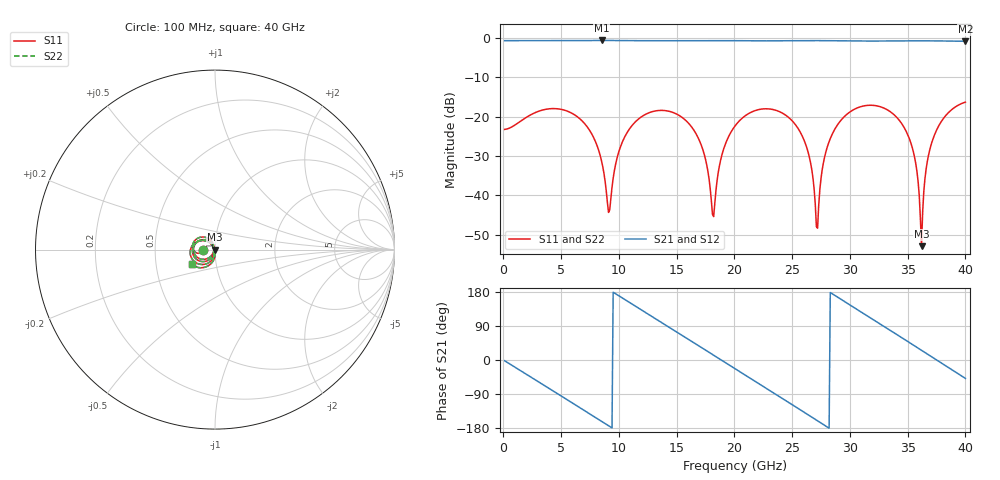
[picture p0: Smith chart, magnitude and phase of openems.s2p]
! thru_s8x2_L3: 2×thru, L3, 8 mm
! stackup: 8-layer 1.6 mm FR-4 without the L2 plane
! ports: 1, 2
! openEMS 0.37.0, staircase, fine mesh (dfine 0.0175 mm), 694512 cells
# Hz S RI R 50
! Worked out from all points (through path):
!   400 points, 100 MHz to 40 GHz, reference 50 ohm
!   highest |S21| = -0.57 dB at 8.5 GHz (marker M1); lowest = -0.8 dB at 40 GHz (marker M2)
!   group delay of S21, straight-line fit = 53.3 ps
!   lowest |S11| = -53.0 dB at 36.2 GHz (marker M3), VSWR 1.00, Z = 49.8 - j0.11 ohm
!   |S11| at or under -10 dB: start of sweep to end of sweep
!   |S22| runs from -53.0 to -16.3 dB; largest |S21 - S12| = 0
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1e8  -0.069 -0.00181  0.9304 -0.031  0.9304 -0.031  -0.069 -0.00181
3.7e9  -0.1244 0.00948  0.3125 -0.8755  0.3125 -0.8755  -0.1244 0.00948
6.8e9  -0.0561 0.0689  -0.5922 -0.7227  -0.5922 -0.7227  -0.0561 0.0689
8.5e9  -0.00848 0.0258  -0.8901 -0.29  -0.8901 -0.29  -0.00848 0.0258
9.1e9  -0.00574 0.00192  -0.9298 -0.1062  -0.9298 -0.1062  -0.00574 0.00192
1.05e10  -0.0329 -0.0446  -0.8752 0.3246  -0.8752 0.3246  -0.0329 -0.0446
1.34e10  -0.1195 -0.0097  -0.2317 0.8991  -0.2317 0.8991  -0.1195 -0.0097
1.68e10  -0.0324 0.0459  0.7204 0.594  0.7204 0.594  -0.0324 0.0459
1.82e10  -0.00496 -0.002  0.912 0.2018  0.912 0.2018  -0.00496 -0.002
1.88e10  -0.00865 -0.0264  0.9332 0.0145  0.9332 0.0145  -0.00865 -0.0264
2.01e10  -0.0456 -0.0633  0.8487 -0.3803  0.8487 -0.3803  -0.0456 -0.0633
2.35e10  -0.1209 0.0157  0.0154 -0.9256  0.0154 -0.9256  -0.1209 0.0157
2.67e10  -0.0102 0.0185  -0.8132 -0.455  -0.8132 -0.455  -0.0102 0.0185
2.72e10  -0.00265 -0.00274  -0.8783 -0.311  -0.8783 -0.311  -0.00265 -0.00274
2.77e10  -0.00255 -0.0255  -0.9176 -0.1579  -0.9176 -0.1579  -0.00255 -0.0255
2.88e10  -0.028 -0.0683  -0.909 0.1866  -0.909 0.1866  -0.028 -0.0683
3.34e10  -0.1126 0.0369  0.1594 0.908  0.1594 0.908  -0.1126 0.0369
3.55e10  -0.0198 0.0294  0.7182 0.586  0.7182 0.586  -0.0198 0.0294
3.62e10  -0.00196 -0.00111  0.8369 0.3989  0.8369 0.3989  -0.00196 -0.00111
3.65e10  0.000915 -0.0164  0.8731 0.3109  0.8731 0.3109  0.000915 -0.0164
3.71e10  -0.00286 -0.0474  0.9169 0.126  0.9169 0.126  -0.00286 -0.0474
4e10  -0.1293 -0.0823  0.6049 -0.6849  0.6049 -0.6849  -0.1293 -0.0823
